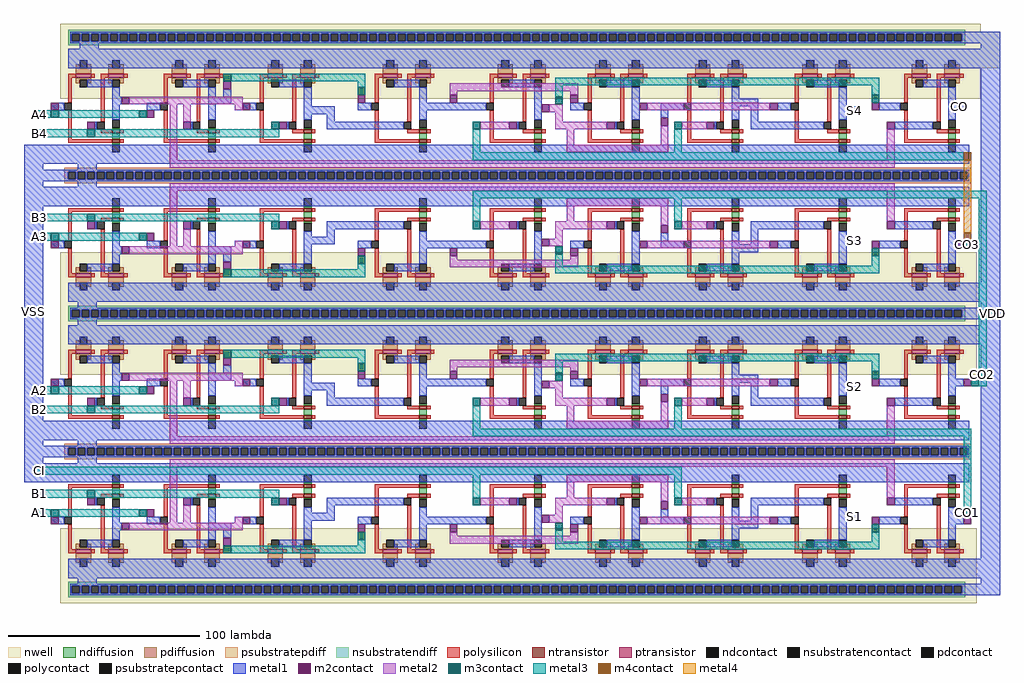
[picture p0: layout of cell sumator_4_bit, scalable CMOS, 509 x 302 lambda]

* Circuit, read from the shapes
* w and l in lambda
.subckt sumator_4_bit A1 A2 A3 A4 B1 B2 B3 B4 CI CO CO1 CO2 CO3 S1 S2 S3 S4 VDD VSS
M1 n1 B1 sumator_1_bit_3/n1 VSS nfet w=4 l=2
M2 VSS A1 n1 VSS nfet w=4 l=2
M3 n2 A2 VSS VSS nfet w=4 l=2
M4 sumator_1_bit_2/n1 B2 n2 VSS nfet w=4 l=2
M5 n3 B3 sumator_1_bit_1/n1 VSS nfet w=4 l=2
M6 VSS A3 n3 VSS nfet w=4 l=2
M7 n4 A4 VSS VSS nfet w=4 l=2
M8 sumator_1_bit_0/n1 B4 n4 VSS nfet w=4 l=2
M9 n5 sumator_1_bit_3/n1 sumator_1_bit_3/n2 VSS nfet w=4 l=2
M10 VSS A1 n5 VSS nfet w=4 l=2
M11 n6 A2 VSS VSS nfet w=4 l=2
M12 sumator_1_bit_2/n2 sumator_1_bit_2/n1 n6 VSS nfet w=4 l=2
M13 n7 sumator_1_bit_1/n1 sumator_1_bit_1/n2 VSS nfet w=4 l=2
M14 VSS A3 n7 VSS nfet w=4 l=2
M15 n8 A4 VSS VSS nfet w=4 l=2
M16 sumator_1_bit_0/n2 sumator_1_bit_0/n1 n8 VSS nfet w=4 l=2
M17 n9 B1 sumator_1_bit_3/n3 VSS nfet w=4 l=2
M18 VSS sumator_1_bit_3/n1 n9 VSS nfet w=4 l=2
M19 n10 sumator_1_bit_2/n1 VSS VSS nfet w=4 l=2
M20 sumator_1_bit_2/n3 B2 n10 VSS nfet w=4 l=2
M21 n11 B3 sumator_1_bit_1/n3 VSS nfet w=4 l=2
M22 VSS sumator_1_bit_1/n1 n11 VSS nfet w=4 l=2
M23 n12 sumator_1_bit_0/n1 VSS VSS nfet w=4 l=2
M24 sumator_1_bit_0/n3 B4 n12 VSS nfet w=4 l=2
M25 n13 sumator_1_bit_3/n3 sumator_1_bit_3/n4 VSS nfet w=4 l=2
M26 VSS sumator_1_bit_3/n2 n13 VSS nfet w=4 l=2
M27 n14 sumator_1_bit_2/n2 VSS VSS nfet w=4 l=2
M28 sumator_1_bit_2/n4 sumator_1_bit_2/n3 n14 VSS nfet w=4 l=2
M29 n15 sumator_1_bit_1/n3 sumator_1_bit_1/n4 VSS nfet w=4 l=2
M30 VSS sumator_1_bit_1/n2 n15 VSS nfet w=4 l=2
M31 n16 sumator_1_bit_0/n2 VSS VSS nfet w=4 l=2
M32 sumator_1_bit_0/n4 sumator_1_bit_0/n3 n16 VSS nfet w=4 l=2
M33 n17 CI sumator_1_bit_3/n5 VSS nfet w=4 l=2
M34 VSS sumator_1_bit_3/n4 n17 VSS nfet w=4 l=2
M35 n18 sumator_1_bit_2/n4 VSS VSS nfet w=4 l=2
M36 sumator_1_bit_2/n5 CO1 n18 VSS nfet w=4 l=2
M37 n19 CO2 sumator_1_bit_1/n5 VSS nfet w=4 l=2
M38 VSS sumator_1_bit_1/n4 n19 VSS nfet w=4 l=2
M39 n20 sumator_1_bit_0/n4 VSS VSS nfet w=4 l=2
M40 sumator_1_bit_0/n5 CO3 n20 VSS nfet w=4 l=2
M41 n21 sumator_1_bit_3/n5 sumator_1_bit_3/n6 VSS nfet w=4 l=2
M42 VSS sumator_1_bit_3/n4 n21 VSS nfet w=4 l=2
M43 n22 sumator_1_bit_2/n4 VSS VSS nfet w=4 l=2
M44 sumator_1_bit_2/n6 sumator_1_bit_2/n5 n22 VSS nfet w=4 l=2
M45 n23 sumator_1_bit_1/n5 sumator_1_bit_1/n6 VSS nfet w=4 l=2
M46 VSS sumator_1_bit_1/n4 n23 VSS nfet w=4 l=2
M47 n24 sumator_1_bit_0/n4 VSS VSS nfet w=4 l=2
M48 sumator_1_bit_0/n6 sumator_1_bit_0/n5 n24 VSS nfet w=4 l=2
M49 n25 CI sumator_1_bit_3/n7 VSS nfet w=4 l=2
M50 VSS sumator_1_bit_3/n5 n25 VSS nfet w=4 l=2
M51 n26 sumator_1_bit_2/n5 VSS VSS nfet w=4 l=2
M52 sumator_1_bit_2/n7 CO1 n26 VSS nfet w=4 l=2
M53 n27 CO2 sumator_1_bit_1/n7 VSS nfet w=4 l=2
M54 VSS sumator_1_bit_1/n5 n27 VSS nfet w=4 l=2
M55 n28 sumator_1_bit_0/n5 VSS VSS nfet w=4 l=2
M56 sumator_1_bit_0/n7 CO3 n28 VSS nfet w=4 l=2
M57 n29 sumator_1_bit_3/n7 S1 VSS nfet w=4 l=2
M58 VSS sumator_1_bit_3/n6 n29 VSS nfet w=4 l=2
M59 n30 sumator_1_bit_2/n6 VSS VSS nfet w=4 l=2
M60 S2 sumator_1_bit_2/n7 n30 VSS nfet w=4 l=2
M61 n31 sumator_1_bit_1/n7 S3 VSS nfet w=4 l=2
M62 VSS sumator_1_bit_1/n6 n31 VSS nfet w=4 l=2
M63 n32 sumator_1_bit_0/n6 VSS VSS nfet w=4 l=2
M64 S4 sumator_1_bit_0/n7 n32 VSS nfet w=4 l=2
M65 n33 sumator_1_bit_3/n1 CO1 VSS nfet w=4 l=2
M66 VSS sumator_1_bit_3/n5 n33 VSS nfet w=4 l=2
M67 n34 sumator_1_bit_2/n5 VSS VSS nfet w=4 l=2
M68 CO2 sumator_1_bit_2/n1 n34 VSS nfet w=4 l=2
M69 n35 sumator_1_bit_1/n1 CO3 VSS nfet w=4 l=2
M70 VSS sumator_1_bit_1/n5 n35 VSS nfet w=4 l=2
M71 n36 sumator_1_bit_0/n5 VSS VSS nfet w=4 l=2
M72 CO sumator_1_bit_0/n1 n36 VSS nfet w=4 l=2
M73 sumator_1_bit_3/n1 A1 VDD VDD pfet w=8 l=2
M74 VDD A2 sumator_1_bit_2/n1 VDD pfet w=8 l=2
M75 sumator_1_bit_1/n1 A3 VDD VDD pfet w=8 l=2
M76 VDD A4 sumator_1_bit_0/n1 VDD pfet w=8 l=2
M77 sumator_1_bit_3/n1 B1 VDD VDD pfet w=8 l=2
M78 VDD B2 sumator_1_bit_2/n1 VDD pfet w=8 l=2
M79 sumator_1_bit_1/n1 B3 VDD VDD pfet w=8 l=2
M80 VDD B4 sumator_1_bit_0/n1 VDD pfet w=8 l=2
M81 sumator_1_bit_3/n2 A1 VDD VDD pfet w=8 l=2
M82 VDD A2 sumator_1_bit_2/n2 VDD pfet w=8 l=2
M83 sumator_1_bit_1/n2 A3 VDD VDD pfet w=8 l=2
M84 VDD A4 sumator_1_bit_0/n2 VDD pfet w=8 l=2
M85 sumator_1_bit_3/n2 sumator_1_bit_3/n1 VDD VDD pfet w=8 l=2
M86 VDD sumator_1_bit_2/n1 sumator_1_bit_2/n2 VDD pfet w=8 l=2
M87 sumator_1_bit_1/n2 sumator_1_bit_1/n1 VDD VDD pfet w=8 l=2
M88 VDD sumator_1_bit_0/n1 sumator_1_bit_0/n2 VDD pfet w=8 l=2
M89 sumator_1_bit_3/n3 sumator_1_bit_3/n1 VDD VDD pfet w=8 l=2
M90 VDD sumator_1_bit_2/n1 sumator_1_bit_2/n3 VDD pfet w=8 l=2
M91 sumator_1_bit_1/n3 sumator_1_bit_1/n1 VDD VDD pfet w=8 l=2
M92 VDD sumator_1_bit_0/n1 sumator_1_bit_0/n3 VDD pfet w=8 l=2
M93 sumator_1_bit_3/n3 B1 VDD VDD pfet w=8 l=2
M94 VDD B2 sumator_1_bit_2/n3 VDD pfet w=8 l=2
M95 sumator_1_bit_1/n3 B3 VDD VDD pfet w=8 l=2
M96 VDD B4 sumator_1_bit_0/n3 VDD pfet w=8 l=2
M97 sumator_1_bit_3/n4 sumator_1_bit_3/n2 VDD VDD pfet w=8 l=2
M98 VDD sumator_1_bit_2/n2 sumator_1_bit_2/n4 VDD pfet w=8 l=2
M99 sumator_1_bit_1/n4 sumator_1_bit_1/n2 VDD VDD pfet w=8 l=2
M100 VDD sumator_1_bit_0/n2 sumator_1_bit_0/n4 VDD pfet w=8 l=2
M101 sumator_1_bit_3/n4 sumator_1_bit_3/n3 VDD VDD pfet w=8 l=2
M102 VDD sumator_1_bit_2/n3 sumator_1_bit_2/n4 VDD pfet w=8 l=2
M103 sumator_1_bit_1/n4 sumator_1_bit_1/n3 VDD VDD pfet w=8 l=2
M104 VDD sumator_1_bit_0/n3 sumator_1_bit_0/n4 VDD pfet w=8 l=2
M105 sumator_1_bit_3/n5 sumator_1_bit_3/n4 VDD VDD pfet w=8 l=2
M106 VDD sumator_1_bit_2/n4 sumator_1_bit_2/n5 VDD pfet w=8 l=2
M107 sumator_1_bit_1/n5 sumator_1_bit_1/n4 VDD VDD pfet w=8 l=2
M108 VDD sumator_1_bit_0/n4 sumator_1_bit_0/n5 VDD pfet w=8 l=2
M109 sumator_1_bit_3/n5 CI VDD VDD pfet w=8 l=2
M110 VDD CO1 sumator_1_bit_2/n5 VDD pfet w=8 l=2
M111 sumator_1_bit_1/n5 CO2 VDD VDD pfet w=8 l=2
M112 VDD CO3 sumator_1_bit_0/n5 VDD pfet w=8 l=2
M113 sumator_1_bit_3/n6 sumator_1_bit_3/n4 VDD VDD pfet w=8 l=2
M114 VDD sumator_1_bit_2/n4 sumator_1_bit_2/n6 VDD pfet w=8 l=2
M115 sumator_1_bit_1/n6 sumator_1_bit_1/n4 VDD VDD pfet w=8 l=2
M116 VDD sumator_1_bit_0/n4 sumator_1_bit_0/n6 VDD pfet w=8 l=2
M117 sumator_1_bit_3/n6 sumator_1_bit_3/n5 VDD VDD pfet w=8 l=2
M118 VDD sumator_1_bit_2/n5 sumator_1_bit_2/n6 VDD pfet w=8 l=2
M119 sumator_1_bit_1/n6 sumator_1_bit_1/n5 VDD VDD pfet w=8 l=2
M120 VDD sumator_1_bit_0/n5 sumator_1_bit_0/n6 VDD pfet w=8 l=2
M121 sumator_1_bit_3/n7 sumator_1_bit_3/n5 VDD VDD pfet w=8 l=2
M122 VDD sumator_1_bit_2/n5 sumator_1_bit_2/n7 VDD pfet w=8 l=2
M123 sumator_1_bit_1/n7 sumator_1_bit_1/n5 VDD VDD pfet w=8 l=2
M124 VDD sumator_1_bit_0/n5 sumator_1_bit_0/n7 VDD pfet w=8 l=2
M125 sumator_1_bit_3/n7 CI VDD VDD pfet w=8 l=2
M126 VDD CO1 sumator_1_bit_2/n7 VDD pfet w=8 l=2
M127 sumator_1_bit_1/n7 CO2 VDD VDD pfet w=8 l=2
M128 VDD CO3 sumator_1_bit_0/n7 VDD pfet w=8 l=2
M129 S1 sumator_1_bit_3/n6 VDD VDD pfet w=8 l=2
M130 VDD sumator_1_bit_2/n6 S2 VDD pfet w=8 l=2
M131 S3 sumator_1_bit_1/n6 VDD VDD pfet w=8 l=2
M132 VDD sumator_1_bit_0/n6 S4 VDD pfet w=8 l=2
M133 S1 sumator_1_bit_3/n7 VDD VDD pfet w=8 l=2
M134 VDD sumator_1_bit_2/n7 S2 VDD pfet w=8 l=2
M135 S3 sumator_1_bit_1/n7 VDD VDD pfet w=8 l=2
M136 VDD sumator_1_bit_0/n7 S4 VDD pfet w=8 l=2
M137 CO1 sumator_1_bit_3/n5 VDD VDD pfet w=8 l=2
M138 VDD sumator_1_bit_2/n5 CO2 VDD pfet w=8 l=2
M139 CO3 sumator_1_bit_1/n5 VDD VDD pfet w=8 l=2
M140 VDD sumator_1_bit_0/n5 CO VDD pfet w=8 l=2
M141 CO1 sumator_1_bit_3/n1 VDD VDD pfet w=8 l=2
M142 VDD sumator_1_bit_2/n1 CO2 VDD pfet w=8 l=2
M143 CO3 sumator_1_bit_1/n1 VDD VDD pfet w=8 l=2
M144 VDD sumator_1_bit_0/n1 CO VDD pfet w=8 l=2
.ends

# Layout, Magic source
magic
tech scmos
<< nwell >>
rect 54 91 534 95
rect 54 86 544 91
rect 58 85 544 86
rect 58 84 526 85
rect 64 82 74 84
rect 532 82 544 85
rect 530 72 544 82
rect 532 56 534 72
rect 63 -52 73 -50
rect 54 -60 532 -52
rect 63 -62 73 -60
rect 58 -198 526 -196
rect 54 -207 532 -198
<< psubstratepdiff >>
rect 56 18 529 20
rect 56 14 58 18
rect 62 14 63 18
rect 67 14 68 18
rect 72 14 73 18
rect 77 14 78 18
rect 82 14 83 18
rect 87 14 88 18
rect 92 14 93 18
rect 97 14 98 18
rect 102 14 103 18
rect 107 14 108 18
rect 112 14 113 18
rect 117 14 118 18
rect 122 14 123 18
rect 127 14 128 18
rect 132 14 133 18
rect 137 14 138 18
rect 142 14 143 18
rect 147 14 148 18
rect 152 14 153 18
rect 157 14 158 18
rect 162 14 163 18
rect 167 14 168 18
rect 172 14 173 18
rect 177 14 178 18
rect 182 14 183 18
rect 187 14 188 18
rect 192 14 193 18
rect 197 14 198 18
rect 202 14 203 18
rect 207 14 208 18
rect 212 14 213 18
rect 217 14 218 18
rect 222 14 223 18
rect 227 14 228 18
rect 232 14 233 18
rect 237 14 238 18
rect 242 14 243 18
rect 247 14 248 18
rect 252 14 253 18
rect 257 14 258 18
rect 262 14 263 18
rect 267 14 268 18
rect 272 14 273 18
rect 277 14 278 18
rect 282 14 283 18
rect 287 14 288 18
rect 292 14 293 18
rect 297 14 298 18
rect 302 14 303 18
rect 307 14 308 18
rect 312 14 313 18
rect 317 14 318 18
rect 322 14 323 18
rect 327 14 328 18
rect 332 14 333 18
rect 337 14 338 18
rect 342 14 343 18
rect 347 14 348 18
rect 352 14 353 18
rect 357 14 358 18
rect 362 14 363 18
rect 367 14 368 18
rect 372 14 373 18
rect 377 14 378 18
rect 382 14 383 18
rect 387 14 388 18
rect 392 14 393 18
rect 397 14 398 18
rect 402 14 403 18
rect 407 14 408 18
rect 412 14 413 18
rect 417 14 418 18
rect 422 14 423 18
rect 427 14 428 18
rect 432 14 433 18
rect 437 14 438 18
rect 442 14 443 18
rect 447 14 448 18
rect 452 14 453 18
rect 457 14 458 18
rect 462 14 463 18
rect 467 14 468 18
rect 472 14 473 18
rect 477 14 478 18
rect 482 14 483 18
rect 487 14 488 18
rect 492 14 493 18
rect 497 14 498 18
rect 502 14 503 18
rect 507 14 508 18
rect 512 14 513 18
rect 517 14 518 18
rect 522 14 523 18
rect 527 14 529 18
rect 56 12 529 14
rect 56 -126 529 -124
rect 56 -130 58 -126
rect 62 -130 63 -126
rect 67 -130 68 -126
rect 72 -130 73 -126
rect 77 -130 78 -126
rect 82 -130 83 -126
rect 87 -130 88 -126
rect 92 -130 93 -126
rect 97 -130 98 -126
rect 102 -130 103 -126
rect 107 -130 108 -126
rect 112 -130 113 -126
rect 117 -130 118 -126
rect 122 -130 123 -126
rect 127 -130 128 -126
rect 132 -130 133 -126
rect 137 -130 138 -126
rect 142 -130 143 -126
rect 147 -130 148 -126
rect 152 -130 153 -126
rect 157 -130 158 -126
rect 162 -130 163 -126
rect 167 -130 168 -126
rect 172 -130 173 -126
rect 177 -130 178 -126
rect 182 -130 183 -126
rect 187 -130 188 -126
rect 192 -130 193 -126
rect 197 -130 198 -126
rect 202 -130 203 -126
rect 207 -130 208 -126
rect 212 -130 213 -126
rect 217 -130 218 -126
rect 222 -130 223 -126
rect 227 -130 228 -126
rect 232 -130 233 -126
rect 237 -130 238 -126
rect 242 -130 243 -126
rect 247 -130 248 -126
rect 252 -130 253 -126
rect 257 -130 258 -126
rect 262 -130 263 -126
rect 267 -130 268 -126
rect 272 -130 273 -126
rect 277 -130 278 -126
rect 282 -130 283 -126
rect 287 -130 288 -126
rect 292 -130 293 -126
rect 297 -130 298 -126
rect 302 -130 303 -126
rect 307 -130 308 -126
rect 312 -130 313 -126
rect 317 -130 318 -126
rect 322 -130 323 -126
rect 327 -130 328 -126
rect 332 -130 333 -126
rect 337 -130 338 -126
rect 342 -130 343 -126
rect 347 -130 348 -126
rect 352 -130 353 -126
rect 357 -130 358 -126
rect 362 -130 363 -126
rect 367 -130 368 -126
rect 372 -130 373 -126
rect 377 -130 378 -126
rect 382 -130 383 -126
rect 387 -130 388 -126
rect 392 -130 393 -126
rect 397 -130 398 -126
rect 402 -130 403 -126
rect 407 -130 408 -126
rect 412 -130 413 -126
rect 417 -130 418 -126
rect 422 -130 423 -126
rect 427 -130 428 -126
rect 432 -130 433 -126
rect 437 -130 438 -126
rect 442 -130 443 -126
rect 447 -130 448 -126
rect 452 -130 453 -126
rect 457 -130 458 -126
rect 462 -130 463 -126
rect 467 -130 468 -126
rect 472 -130 473 -126
rect 477 -130 478 -126
rect 482 -130 483 -126
rect 487 -130 488 -126
rect 492 -130 493 -126
rect 497 -130 498 -126
rect 502 -130 503 -126
rect 507 -130 508 -126
rect 512 -130 513 -126
rect 517 -130 518 -126
rect 522 -130 523 -126
rect 527 -130 529 -126
rect 56 -132 529 -130
<< nsubstratendiff >>
rect 58 90 526 92
rect 58 86 60 90
rect 64 86 65 90
rect 69 86 70 90
rect 74 86 75 90
rect 79 86 80 90
rect 84 86 85 90
rect 89 86 90 90
rect 94 86 95 90
rect 99 86 100 90
rect 104 86 105 90
rect 109 86 110 90
rect 114 86 115 90
rect 119 86 120 90
rect 124 86 125 90
rect 129 86 130 90
rect 134 86 135 90
rect 139 86 140 90
rect 144 86 145 90
rect 149 86 150 90
rect 154 86 155 90
rect 159 86 160 90
rect 164 86 165 90
rect 169 86 170 90
rect 174 86 175 90
rect 179 86 180 90
rect 184 86 185 90
rect 189 86 190 90
rect 194 86 195 90
rect 199 86 200 90
rect 204 86 205 90
rect 209 86 210 90
rect 214 86 215 90
rect 219 86 220 90
rect 224 86 225 90
rect 229 86 230 90
rect 234 86 235 90
rect 239 86 240 90
rect 244 86 245 90
rect 249 86 250 90
rect 254 86 255 90
rect 259 86 260 90
rect 264 86 265 90
rect 269 86 270 90
rect 274 86 275 90
rect 279 86 280 90
rect 284 86 285 90
rect 289 86 290 90
rect 294 86 295 90
rect 299 86 300 90
rect 304 86 305 90
rect 309 86 310 90
rect 314 86 315 90
rect 319 86 320 90
rect 324 86 325 90
rect 329 86 330 90
rect 334 86 335 90
rect 339 86 340 90
rect 344 86 345 90
rect 349 86 350 90
rect 354 86 355 90
rect 359 86 360 90
rect 364 86 365 90
rect 369 86 370 90
rect 374 86 375 90
rect 379 86 380 90
rect 384 86 385 90
rect 389 86 390 90
rect 394 86 395 90
rect 399 86 400 90
rect 404 86 405 90
rect 409 86 410 90
rect 414 86 415 90
rect 419 86 420 90
rect 424 86 425 90
rect 429 86 430 90
rect 434 86 435 90
rect 439 86 440 90
rect 444 86 445 90
rect 449 86 450 90
rect 454 86 455 90
rect 459 86 460 90
rect 464 86 465 90
rect 469 86 470 90
rect 474 86 475 90
rect 479 86 480 90
rect 484 86 485 90
rect 489 86 490 90
rect 494 86 495 90
rect 499 86 500 90
rect 504 86 505 90
rect 509 86 510 90
rect 514 86 515 90
rect 519 86 520 90
rect 524 86 526 90
rect 58 84 526 86
rect 58 -54 526 -52
rect 58 -58 60 -54
rect 64 -58 65 -54
rect 69 -58 70 -54
rect 74 -58 75 -54
rect 79 -58 80 -54
rect 84 -58 85 -54
rect 89 -58 90 -54
rect 94 -58 95 -54
rect 99 -58 100 -54
rect 104 -58 105 -54
rect 109 -58 110 -54
rect 114 -58 115 -54
rect 119 -58 120 -54
rect 124 -58 125 -54
rect 129 -58 130 -54
rect 134 -58 135 -54
rect 139 -58 140 -54
rect 144 -58 145 -54
rect 149 -58 150 -54
rect 154 -58 155 -54
rect 159 -58 160 -54
rect 164 -58 165 -54
rect 169 -58 170 -54
rect 174 -58 175 -54
rect 179 -58 180 -54
rect 184 -58 185 -54
rect 189 -58 190 -54
rect 194 -58 195 -54
rect 199 -58 200 -54
rect 204 -58 205 -54
rect 209 -58 210 -54
rect 214 -58 215 -54
rect 219 -58 220 -54
rect 224 -58 225 -54
rect 229 -58 230 -54
rect 234 -58 235 -54
rect 239 -58 240 -54
rect 244 -58 245 -54
rect 249 -58 250 -54
rect 254 -58 255 -54
rect 259 -58 260 -54
rect 264 -58 265 -54
rect 269 -58 270 -54
rect 274 -58 275 -54
rect 279 -58 280 -54
rect 284 -58 285 -54
rect 289 -58 290 -54
rect 294 -58 295 -54
rect 299 -58 300 -54
rect 304 -58 305 -54
rect 309 -58 310 -54
rect 314 -58 315 -54
rect 319 -58 320 -54
rect 324 -58 325 -54
rect 329 -58 330 -54
rect 334 -58 335 -54
rect 339 -58 340 -54
rect 344 -58 345 -54
rect 349 -58 350 -54
rect 354 -58 355 -54
rect 359 -58 360 -54
rect 364 -58 365 -54
rect 369 -58 370 -54
rect 374 -58 375 -54
rect 379 -58 380 -54
rect 384 -58 385 -54
rect 389 -58 390 -54
rect 394 -58 395 -54
rect 399 -58 400 -54
rect 404 -58 405 -54
rect 409 -58 410 -54
rect 414 -58 415 -54
rect 419 -58 420 -54
rect 424 -58 425 -54
rect 429 -58 430 -54
rect 434 -58 435 -54
rect 439 -58 440 -54
rect 444 -58 445 -54
rect 449 -58 450 -54
rect 454 -58 455 -54
rect 459 -58 460 -54
rect 464 -58 465 -54
rect 469 -58 470 -54
rect 474 -58 475 -54
rect 479 -58 480 -54
rect 484 -58 485 -54
rect 489 -58 490 -54
rect 494 -58 495 -54
rect 499 -58 500 -54
rect 504 -58 505 -54
rect 509 -58 510 -54
rect 514 -58 515 -54
rect 519 -58 520 -54
rect 524 -58 526 -54
rect 58 -60 526 -58
rect 58 -198 526 -196
rect 58 -202 60 -198
rect 64 -202 65 -198
rect 69 -202 70 -198
rect 74 -202 75 -198
rect 79 -202 80 -198
rect 84 -202 85 -198
rect 89 -202 90 -198
rect 94 -202 95 -198
rect 99 -202 100 -198
rect 104 -202 105 -198
rect 109 -202 110 -198
rect 114 -202 115 -198
rect 119 -202 120 -198
rect 124 -202 125 -198
rect 129 -202 130 -198
rect 134 -202 135 -198
rect 139 -202 140 -198
rect 144 -202 145 -198
rect 149 -202 150 -198
rect 154 -202 155 -198
rect 159 -202 160 -198
rect 164 -202 165 -198
rect 169 -202 170 -198
rect 174 -202 175 -198
rect 179 -202 180 -198
rect 184 -202 185 -198
rect 189 -202 190 -198
rect 194 -202 195 -198
rect 199 -202 200 -198
rect 204 -202 205 -198
rect 209 -202 210 -198
rect 214 -202 215 -198
rect 219 -202 220 -198
rect 224 -202 225 -198
rect 229 -202 230 -198
rect 234 -202 235 -198
rect 239 -202 240 -198
rect 244 -202 245 -198
rect 249 -202 250 -198
rect 254 -202 255 -198
rect 259 -202 260 -198
rect 264 -202 265 -198
rect 269 -202 270 -198
rect 274 -202 275 -198
rect 279 -202 280 -198
rect 284 -202 285 -198
rect 289 -202 290 -198
rect 294 -202 295 -198
rect 299 -202 300 -198
rect 304 -202 305 -198
rect 309 -202 310 -198
rect 314 -202 315 -198
rect 319 -202 320 -198
rect 324 -202 325 -198
rect 329 -202 330 -198
rect 334 -202 335 -198
rect 339 -202 340 -198
rect 344 -202 345 -198
rect 349 -202 350 -198
rect 354 -202 355 -198
rect 359 -202 360 -198
rect 364 -202 365 -198
rect 369 -202 370 -198
rect 374 -202 375 -198
rect 379 -202 380 -198
rect 384 -202 385 -198
rect 389 -202 390 -198
rect 394 -202 395 -198
rect 399 -202 400 -198
rect 404 -202 405 -198
rect 409 -202 410 -198
rect 414 -202 415 -198
rect 419 -202 420 -198
rect 424 -202 425 -198
rect 429 -202 430 -198
rect 434 -202 435 -198
rect 439 -202 440 -198
rect 444 -202 445 -198
rect 449 -202 450 -198
rect 454 -202 455 -198
rect 459 -202 460 -198
rect 464 -202 465 -198
rect 469 -202 470 -198
rect 474 -202 475 -198
rect 479 -202 480 -198
rect 484 -202 485 -198
rect 489 -202 490 -198
rect 494 -202 495 -198
rect 499 -202 500 -198
rect 504 -202 505 -198
rect 509 -202 510 -198
rect 514 -202 515 -198
rect 519 -202 520 -198
rect 524 -202 526 -198
rect 58 -204 526 -202
<< psubstratepcontact >>
rect 58 14 62 18
rect 63 14 67 18
rect 68 14 72 18
rect 73 14 77 18
rect 78 14 82 18
rect 83 14 87 18
rect 88 14 92 18
rect 93 14 97 18
rect 98 14 102 18
rect 103 14 107 18
rect 108 14 112 18
rect 113 14 117 18
rect 118 14 122 18
rect 123 14 127 18
rect 128 14 132 18
rect 133 14 137 18
rect 138 14 142 18
rect 143 14 147 18
rect 148 14 152 18
rect 153 14 157 18
rect 158 14 162 18
rect 163 14 167 18
rect 168 14 172 18
rect 173 14 177 18
rect 178 14 182 18
rect 183 14 187 18
rect 188 14 192 18
rect 193 14 197 18
rect 198 14 202 18
rect 203 14 207 18
rect 208 14 212 18
rect 213 14 217 18
rect 218 14 222 18
rect 223 14 227 18
rect 228 14 232 18
rect 233 14 237 18
rect 238 14 242 18
rect 243 14 247 18
rect 248 14 252 18
rect 253 14 257 18
rect 258 14 262 18
rect 263 14 267 18
rect 268 14 272 18
rect 273 14 277 18
rect 278 14 282 18
rect 283 14 287 18
rect 288 14 292 18
rect 293 14 297 18
rect 298 14 302 18
rect 303 14 307 18
rect 308 14 312 18
rect 313 14 317 18
rect 318 14 322 18
rect 323 14 327 18
rect 328 14 332 18
rect 333 14 337 18
rect 338 14 342 18
rect 343 14 347 18
rect 348 14 352 18
rect 353 14 357 18
rect 358 14 362 18
rect 363 14 367 18
rect 368 14 372 18
rect 373 14 377 18
rect 378 14 382 18
rect 383 14 387 18
rect 388 14 392 18
rect 393 14 397 18
rect 398 14 402 18
rect 403 14 407 18
rect 408 14 412 18
rect 413 14 417 18
rect 418 14 422 18
rect 423 14 427 18
rect 428 14 432 18
rect 433 14 437 18
rect 438 14 442 18
rect 443 14 447 18
rect 448 14 452 18
rect 453 14 457 18
rect 458 14 462 18
rect 463 14 467 18
rect 468 14 472 18
rect 473 14 477 18
rect 478 14 482 18
rect 483 14 487 18
rect 488 14 492 18
rect 493 14 497 18
rect 498 14 502 18
rect 503 14 507 18
rect 508 14 512 18
rect 513 14 517 18
rect 518 14 522 18
rect 523 14 527 18
rect 58 -130 62 -126
rect 63 -130 67 -126
rect 68 -130 72 -126
rect 73 -130 77 -126
rect 78 -130 82 -126
rect 83 -130 87 -126
rect 88 -130 92 -126
rect 93 -130 97 -126
rect 98 -130 102 -126
rect 103 -130 107 -126
rect 108 -130 112 -126
rect 113 -130 117 -126
rect 118 -130 122 -126
rect 123 -130 127 -126
rect 128 -130 132 -126
rect 133 -130 137 -126
rect 138 -130 142 -126
rect 143 -130 147 -126
rect 148 -130 152 -126
rect 153 -130 157 -126
rect 158 -130 162 -126
rect 163 -130 167 -126
rect 168 -130 172 -126
rect 173 -130 177 -126
rect 178 -130 182 -126
rect 183 -130 187 -126
rect 188 -130 192 -126
rect 193 -130 197 -126
rect 198 -130 202 -126
rect 203 -130 207 -126
rect 208 -130 212 -126
rect 213 -130 217 -126
rect 218 -130 222 -126
rect 223 -130 227 -126
rect 228 -130 232 -126
rect 233 -130 237 -126
rect 238 -130 242 -126
rect 243 -130 247 -126
rect 248 -130 252 -126
rect 253 -130 257 -126
rect 258 -130 262 -126
rect 263 -130 267 -126
rect 268 -130 272 -126
rect 273 -130 277 -126
rect 278 -130 282 -126
rect 283 -130 287 -126
rect 288 -130 292 -126
rect 293 -130 297 -126
rect 298 -130 302 -126
rect 303 -130 307 -126
rect 308 -130 312 -126
rect 313 -130 317 -126
rect 318 -130 322 -126
rect 323 -130 327 -126
rect 328 -130 332 -126
rect 333 -130 337 -126
rect 338 -130 342 -126
rect 343 -130 347 -126
rect 348 -130 352 -126
rect 353 -130 357 -126
rect 358 -130 362 -126
rect 363 -130 367 -126
rect 368 -130 372 -126
rect 373 -130 377 -126
rect 378 -130 382 -126
rect 383 -130 387 -126
rect 388 -130 392 -126
rect 393 -130 397 -126
rect 398 -130 402 -126
rect 403 -130 407 -126
rect 408 -130 412 -126
rect 413 -130 417 -126
rect 418 -130 422 -126
rect 423 -130 427 -126
rect 428 -130 432 -126
rect 433 -130 437 -126
rect 438 -130 442 -126
rect 443 -130 447 -126
rect 448 -130 452 -126
rect 453 -130 457 -126
rect 458 -130 462 -126
rect 463 -130 467 -126
rect 468 -130 472 -126
rect 473 -130 477 -126
rect 478 -130 482 -126
rect 483 -130 487 -126
rect 488 -130 492 -126
rect 493 -130 497 -126
rect 498 -130 502 -126
rect 503 -130 507 -126
rect 508 -130 512 -126
rect 513 -130 517 -126
rect 518 -130 522 -126
rect 523 -130 527 -126
<< nsubstratencontact >>
rect 60 86 64 90
rect 65 86 69 90
rect 70 86 74 90
rect 75 86 79 90
rect 80 86 84 90
rect 85 86 89 90
rect 90 86 94 90
rect 95 86 99 90
rect 100 86 104 90
rect 105 86 109 90
rect 110 86 114 90
rect 115 86 119 90
rect 120 86 124 90
rect 125 86 129 90
rect 130 86 134 90
rect 135 86 139 90
rect 140 86 144 90
rect 145 86 149 90
rect 150 86 154 90
rect 155 86 159 90
rect 160 86 164 90
rect 165 86 169 90
rect 170 86 174 90
rect 175 86 179 90
rect 180 86 184 90
rect 185 86 189 90
rect 190 86 194 90
rect 195 86 199 90
rect 200 86 204 90
rect 205 86 209 90
rect 210 86 214 90
rect 215 86 219 90
rect 220 86 224 90
rect 225 86 229 90
rect 230 86 234 90
rect 235 86 239 90
rect 240 86 244 90
rect 245 86 249 90
rect 250 86 254 90
rect 255 86 259 90
rect 260 86 264 90
rect 265 86 269 90
rect 270 86 274 90
rect 275 86 279 90
rect 280 86 284 90
rect 285 86 289 90
rect 290 86 294 90
rect 295 86 299 90
rect 300 86 304 90
rect 305 86 309 90
rect 310 86 314 90
rect 315 86 319 90
rect 320 86 324 90
rect 325 86 329 90
rect 330 86 334 90
rect 335 86 339 90
rect 340 86 344 90
rect 345 86 349 90
rect 350 86 354 90
rect 355 86 359 90
rect 360 86 364 90
rect 365 86 369 90
rect 370 86 374 90
rect 375 86 379 90
rect 380 86 384 90
rect 385 86 389 90
rect 390 86 394 90
rect 395 86 399 90
rect 400 86 404 90
rect 405 86 409 90
rect 410 86 414 90
rect 415 86 419 90
rect 420 86 424 90
rect 425 86 429 90
rect 430 86 434 90
rect 435 86 439 90
rect 440 86 444 90
rect 445 86 449 90
rect 450 86 454 90
rect 455 86 459 90
rect 460 86 464 90
rect 465 86 469 90
rect 470 86 474 90
rect 475 86 479 90
rect 480 86 484 90
rect 485 86 489 90
rect 490 86 494 90
rect 495 86 499 90
rect 500 86 504 90
rect 505 86 509 90
rect 510 86 514 90
rect 515 86 519 90
rect 520 86 524 90
rect 60 -58 64 -54
rect 65 -58 69 -54
rect 70 -58 74 -54
rect 75 -58 79 -54
rect 80 -58 84 -54
rect 85 -58 89 -54
rect 90 -58 94 -54
rect 95 -58 99 -54
rect 100 -58 104 -54
rect 105 -58 109 -54
rect 110 -58 114 -54
rect 115 -58 119 -54
rect 120 -58 124 -54
rect 125 -58 129 -54
rect 130 -58 134 -54
rect 135 -58 139 -54
rect 140 -58 144 -54
rect 145 -58 149 -54
rect 150 -58 154 -54
rect 155 -58 159 -54
rect 160 -58 164 -54
rect 165 -58 169 -54
rect 170 -58 174 -54
rect 175 -58 179 -54
rect 180 -58 184 -54
rect 185 -58 189 -54
rect 190 -58 194 -54
rect 195 -58 199 -54
rect 200 -58 204 -54
rect 205 -58 209 -54
rect 210 -58 214 -54
rect 215 -58 219 -54
rect 220 -58 224 -54
rect 225 -58 229 -54
rect 230 -58 234 -54
rect 235 -58 239 -54
rect 240 -58 244 -54
rect 245 -58 249 -54
rect 250 -58 254 -54
rect 255 -58 259 -54
rect 260 -58 264 -54
rect 265 -58 269 -54
rect 270 -58 274 -54
rect 275 -58 279 -54
rect 280 -58 284 -54
rect 285 -58 289 -54
rect 290 -58 294 -54
rect 295 -58 299 -54
rect 300 -58 304 -54
rect 305 -58 309 -54
rect 310 -58 314 -54
rect 315 -58 319 -54
rect 320 -58 324 -54
rect 325 -58 329 -54
rect 330 -58 334 -54
rect 335 -58 339 -54
rect 340 -58 344 -54
rect 345 -58 349 -54
rect 350 -58 354 -54
rect 355 -58 359 -54
rect 360 -58 364 -54
rect 365 -58 369 -54
rect 370 -58 374 -54
rect 375 -58 379 -54
rect 380 -58 384 -54
rect 385 -58 389 -54
rect 390 -58 394 -54
rect 395 -58 399 -54
rect 400 -58 404 -54
rect 405 -58 409 -54
rect 410 -58 414 -54
rect 415 -58 419 -54
rect 420 -58 424 -54
rect 425 -58 429 -54
rect 430 -58 434 -54
rect 435 -58 439 -54
rect 440 -58 444 -54
rect 445 -58 449 -54
rect 450 -58 454 -54
rect 455 -58 459 -54
rect 460 -58 464 -54
rect 465 -58 469 -54
rect 470 -58 474 -54
rect 475 -58 479 -54
rect 480 -58 484 -54
rect 485 -58 489 -54
rect 490 -58 494 -54
rect 495 -58 499 -54
rect 500 -58 504 -54
rect 505 -58 509 -54
rect 510 -58 514 -54
rect 515 -58 519 -54
rect 520 -58 524 -54
rect 60 -202 64 -198
rect 65 -202 69 -198
rect 70 -202 74 -198
rect 75 -202 79 -198
rect 80 -202 84 -198
rect 85 -202 89 -198
rect 90 -202 94 -198
rect 95 -202 99 -198
rect 100 -202 104 -198
rect 105 -202 109 -198
rect 110 -202 114 -198
rect 115 -202 119 -198
rect 120 -202 124 -198
rect 125 -202 129 -198
rect 130 -202 134 -198
rect 135 -202 139 -198
rect 140 -202 144 -198
rect 145 -202 149 -198
rect 150 -202 154 -198
rect 155 -202 159 -198
rect 160 -202 164 -198
rect 165 -202 169 -198
rect 170 -202 174 -198
rect 175 -202 179 -198
rect 180 -202 184 -198
rect 185 -202 189 -198
rect 190 -202 194 -198
rect 195 -202 199 -198
rect 200 -202 204 -198
rect 205 -202 209 -198
rect 210 -202 214 -198
rect 215 -202 219 -198
rect 220 -202 224 -198
rect 225 -202 229 -198
rect 230 -202 234 -198
rect 235 -202 239 -198
rect 240 -202 244 -198
rect 245 -202 249 -198
rect 250 -202 254 -198
rect 255 -202 259 -198
rect 260 -202 264 -198
rect 265 -202 269 -198
rect 270 -202 274 -198
rect 275 -202 279 -198
rect 280 -202 284 -198
rect 285 -202 289 -198
rect 290 -202 294 -198
rect 295 -202 299 -198
rect 300 -202 304 -198
rect 305 -202 309 -198
rect 310 -202 314 -198
rect 315 -202 319 -198
rect 320 -202 324 -198
rect 325 -202 329 -198
rect 330 -202 334 -198
rect 335 -202 339 -198
rect 340 -202 344 -198
rect 345 -202 349 -198
rect 350 -202 354 -198
rect 355 -202 359 -198
rect 360 -202 364 -198
rect 365 -202 369 -198
rect 370 -202 374 -198
rect 375 -202 379 -198
rect 380 -202 384 -198
rect 385 -202 389 -198
rect 390 -202 394 -198
rect 395 -202 399 -198
rect 400 -202 404 -198
rect 405 -202 409 -198
rect 410 -202 414 -198
rect 415 -202 419 -198
rect 420 -202 424 -198
rect 425 -202 429 -198
rect 430 -202 434 -198
rect 435 -202 439 -198
rect 440 -202 444 -198
rect 445 -202 449 -198
rect 450 -202 454 -198
rect 455 -202 459 -198
rect 460 -202 464 -198
rect 465 -202 469 -198
rect 470 -202 474 -198
rect 475 -202 479 -198
rect 480 -202 484 -198
rect 485 -202 489 -198
rect 490 -202 494 -198
rect 495 -202 499 -198
rect 500 -202 504 -198
rect 505 -202 509 -198
rect 510 -202 514 -198
rect 515 -202 519 -198
rect 520 -202 524 -198
<< metal1 >>
rect 59 90 544 91
rect 59 86 60 90
rect 64 86 65 90
rect 69 86 70 90
rect 74 86 75 90
rect 79 86 80 90
rect 84 86 85 90
rect 89 86 90 90
rect 94 86 95 90
rect 99 86 100 90
rect 104 86 105 90
rect 109 86 110 90
rect 114 86 115 90
rect 119 86 120 90
rect 124 86 125 90
rect 129 86 130 90
rect 134 86 135 90
rect 139 86 140 90
rect 144 86 145 90
rect 149 86 150 90
rect 154 86 155 90
rect 159 86 160 90
rect 164 86 165 90
rect 169 86 170 90
rect 174 86 175 90
rect 179 86 180 90
rect 184 86 185 90
rect 189 86 190 90
rect 194 86 195 90
rect 199 86 200 90
rect 204 86 205 90
rect 209 86 210 90
rect 214 86 215 90
rect 219 86 220 90
rect 224 86 225 90
rect 229 86 230 90
rect 234 86 235 90
rect 239 86 240 90
rect 244 86 245 90
rect 249 86 250 90
rect 254 86 255 90
rect 259 86 260 90
rect 264 86 265 90
rect 269 86 270 90
rect 274 86 275 90
rect 279 86 280 90
rect 284 86 285 90
rect 289 86 290 90
rect 294 86 295 90
rect 299 86 300 90
rect 304 86 305 90
rect 309 86 310 90
rect 314 86 315 90
rect 319 86 320 90
rect 324 86 325 90
rect 329 86 330 90
rect 334 86 335 90
rect 339 86 340 90
rect 344 86 345 90
rect 349 86 350 90
rect 354 86 355 90
rect 359 86 360 90
rect 364 86 365 90
rect 369 86 370 90
rect 374 86 375 90
rect 379 86 380 90
rect 384 86 385 90
rect 389 86 390 90
rect 394 86 395 90
rect 399 86 400 90
rect 404 86 405 90
rect 409 86 410 90
rect 414 86 415 90
rect 419 86 420 90
rect 424 86 425 90
rect 429 86 430 90
rect 434 86 435 90
rect 439 86 440 90
rect 444 86 445 90
rect 449 86 450 90
rect 454 86 455 90
rect 459 86 460 90
rect 464 86 465 90
rect 469 86 470 90
rect 474 86 475 90
rect 479 86 480 90
rect 484 86 485 90
rect 489 86 490 90
rect 494 86 495 90
rect 499 86 500 90
rect 504 86 505 90
rect 509 86 510 90
rect 514 86 515 90
rect 519 86 520 90
rect 524 86 544 90
rect 59 85 544 86
rect 64 75 74 85
rect 534 82 544 85
rect 524 72 544 82
rect 466 48 470 52
rect 521 50 525 54
rect 35 22 56 32
rect 35 19 45 22
rect 63 19 73 29
rect 35 18 528 19
rect 35 14 58 18
rect 62 14 63 18
rect 67 14 68 18
rect 72 14 73 18
rect 77 14 78 18
rect 82 14 83 18
rect 87 14 88 18
rect 92 14 93 18
rect 97 14 98 18
rect 102 14 103 18
rect 107 14 108 18
rect 112 14 113 18
rect 117 14 118 18
rect 122 14 123 18
rect 127 14 128 18
rect 132 14 133 18
rect 137 14 138 18
rect 142 14 143 18
rect 147 14 148 18
rect 152 14 153 18
rect 157 14 158 18
rect 162 14 163 18
rect 167 14 168 18
rect 172 14 173 18
rect 177 14 178 18
rect 182 14 183 18
rect 187 14 188 18
rect 192 14 193 18
rect 197 14 198 18
rect 202 14 203 18
rect 207 14 208 18
rect 212 14 213 18
rect 217 14 218 18
rect 222 14 223 18
rect 227 14 228 18
rect 232 14 233 18
rect 237 14 238 18
rect 242 14 243 18
rect 247 14 248 18
rect 252 14 253 18
rect 257 14 258 18
rect 262 14 263 18
rect 267 14 268 18
rect 272 14 273 18
rect 277 14 278 18
rect 282 14 283 18
rect 287 14 288 18
rect 292 14 293 18
rect 297 14 298 18
rect 302 14 303 18
rect 307 14 308 18
rect 312 14 313 18
rect 317 14 318 18
rect 322 14 323 18
rect 327 14 328 18
rect 332 14 333 18
rect 337 14 338 18
rect 342 14 343 18
rect 347 14 348 18
rect 352 14 353 18
rect 357 14 358 18
rect 362 14 363 18
rect 367 14 368 18
rect 372 14 373 18
rect 377 14 378 18
rect 382 14 383 18
rect 387 14 388 18
rect 392 14 393 18
rect 397 14 398 18
rect 402 14 403 18
rect 407 14 408 18
rect 412 14 413 18
rect 417 14 418 18
rect 422 14 423 18
rect 427 14 428 18
rect 432 14 433 18
rect 437 14 438 18
rect 442 14 443 18
rect 447 14 448 18
rect 452 14 453 18
rect 457 14 458 18
rect 462 14 463 18
rect 467 14 468 18
rect 472 14 473 18
rect 477 14 478 18
rect 482 14 483 18
rect 487 14 488 18
rect 492 14 493 18
rect 497 14 498 18
rect 502 14 503 18
rect 507 14 508 18
rect 512 14 513 18
rect 517 14 518 18
rect 522 14 523 18
rect 527 14 528 18
rect 35 13 528 14
rect 35 10 45 13
rect 35 0 56 10
rect 63 3 73 13
rect 35 -112 45 0
rect 466 -20 470 -16
rect 534 -40 544 72
rect 63 -53 73 -43
rect 520 -50 544 -40
rect 534 -53 544 -50
rect 59 -54 544 -53
rect 59 -58 60 -54
rect 64 -58 65 -54
rect 69 -58 70 -54
rect 74 -58 75 -54
rect 79 -58 80 -54
rect 84 -58 85 -54
rect 89 -58 90 -54
rect 94 -58 95 -54
rect 99 -58 100 -54
rect 104 -58 105 -54
rect 109 -58 110 -54
rect 114 -58 115 -54
rect 119 -58 120 -54
rect 124 -58 125 -54
rect 129 -58 130 -54
rect 134 -58 135 -54
rect 139 -58 140 -54
rect 144 -58 145 -54
rect 149 -58 150 -54
rect 154 -58 155 -54
rect 159 -58 160 -54
rect 164 -58 165 -54
rect 169 -58 170 -54
rect 174 -58 175 -54
rect 179 -58 180 -54
rect 184 -58 185 -54
rect 189 -58 190 -54
rect 194 -58 195 -54
rect 199 -58 200 -54
rect 204 -58 205 -54
rect 209 -58 210 -54
rect 214 -58 215 -54
rect 219 -58 220 -54
rect 224 -58 225 -54
rect 229 -58 230 -54
rect 234 -58 235 -54
rect 239 -58 240 -54
rect 244 -58 245 -54
rect 249 -58 250 -54
rect 254 -58 255 -54
rect 259 -58 260 -54
rect 264 -58 265 -54
rect 269 -58 270 -54
rect 274 -58 275 -54
rect 279 -58 280 -54
rect 284 -58 285 -54
rect 289 -58 290 -54
rect 294 -58 295 -54
rect 299 -58 300 -54
rect 304 -58 305 -54
rect 309 -58 310 -54
rect 314 -58 315 -54
rect 319 -58 320 -54
rect 324 -58 325 -54
rect 329 -58 330 -54
rect 334 -58 335 -54
rect 339 -58 340 -54
rect 344 -58 345 -54
rect 349 -58 350 -54
rect 354 -58 355 -54
rect 359 -58 360 -54
rect 364 -58 365 -54
rect 369 -58 370 -54
rect 374 -58 375 -54
rect 379 -58 380 -54
rect 384 -58 385 -54
rect 389 -58 390 -54
rect 394 -58 395 -54
rect 399 -58 400 -54
rect 404 -58 405 -54
rect 409 -58 410 -54
rect 414 -58 415 -54
rect 419 -58 420 -54
rect 424 -58 425 -54
rect 429 -58 430 -54
rect 434 -58 435 -54
rect 439 -58 440 -54
rect 444 -58 445 -54
rect 449 -58 450 -54
rect 454 -58 455 -54
rect 459 -58 460 -54
rect 464 -58 465 -54
rect 469 -58 470 -54
rect 474 -58 475 -54
rect 479 -58 480 -54
rect 484 -58 485 -54
rect 489 -58 490 -54
rect 494 -58 495 -54
rect 499 -58 500 -54
rect 504 -58 505 -54
rect 509 -58 510 -54
rect 514 -58 515 -54
rect 519 -58 520 -54
rect 524 -58 544 -54
rect 59 -59 544 -58
rect 63 -69 73 -59
rect 534 -62 544 -59
rect 520 -72 544 -62
rect 466 -96 470 -92
rect 521 -94 525 -90
rect 35 -122 56 -112
rect 35 -125 45 -122
rect 63 -125 73 -115
rect 35 -126 528 -125
rect 35 -130 58 -126
rect 62 -130 63 -126
rect 67 -130 68 -126
rect 72 -130 73 -126
rect 77 -130 78 -126
rect 82 -130 83 -126
rect 87 -130 88 -126
rect 92 -130 93 -126
rect 97 -130 98 -126
rect 102 -130 103 -126
rect 107 -130 108 -126
rect 112 -130 113 -126
rect 117 -130 118 -126
rect 122 -130 123 -126
rect 127 -130 128 -126
rect 132 -130 133 -126
rect 137 -130 138 -126
rect 142 -130 143 -126
rect 147 -130 148 -126
rect 152 -130 153 -126
rect 157 -130 158 -126
rect 162 -130 163 -126
rect 167 -130 168 -126
rect 172 -130 173 -126
rect 177 -130 178 -126
rect 182 -130 183 -126
rect 187 -130 188 -126
rect 192 -130 193 -126
rect 197 -130 198 -126
rect 202 -130 203 -126
rect 207 -130 208 -126
rect 212 -130 213 -126
rect 217 -130 218 -126
rect 222 -130 223 -126
rect 227 -130 228 -126
rect 232 -130 233 -126
rect 237 -130 238 -126
rect 242 -130 243 -126
rect 247 -130 248 -126
rect 252 -130 253 -126
rect 257 -130 258 -126
rect 262 -130 263 -126
rect 267 -130 268 -126
rect 272 -130 273 -126
rect 277 -130 278 -126
rect 282 -130 283 -126
rect 287 -130 288 -126
rect 292 -130 293 -126
rect 297 -130 298 -126
rect 302 -130 303 -126
rect 307 -130 308 -126
rect 312 -130 313 -126
rect 317 -130 318 -126
rect 322 -130 323 -126
rect 327 -130 328 -126
rect 332 -130 333 -126
rect 337 -130 338 -126
rect 342 -130 343 -126
rect 347 -130 348 -126
rect 352 -130 353 -126
rect 357 -130 358 -126
rect 362 -130 363 -126
rect 367 -130 368 -126
rect 372 -130 373 -126
rect 377 -130 378 -126
rect 382 -130 383 -126
rect 387 -130 388 -126
rect 392 -130 393 -126
rect 397 -130 398 -126
rect 402 -130 403 -126
rect 407 -130 408 -126
rect 412 -130 413 -126
rect 417 -130 418 -126
rect 422 -130 423 -126
rect 427 -130 428 -126
rect 432 -130 433 -126
rect 437 -130 438 -126
rect 442 -130 443 -126
rect 447 -130 448 -126
rect 452 -130 453 -126
rect 457 -130 458 -126
rect 462 -130 463 -126
rect 467 -130 468 -126
rect 472 -130 473 -126
rect 477 -130 478 -126
rect 482 -130 483 -126
rect 487 -130 488 -126
rect 492 -130 493 -126
rect 497 -130 498 -126
rect 502 -130 503 -126
rect 507 -130 508 -126
rect 512 -130 513 -126
rect 517 -130 518 -126
rect 522 -130 523 -126
rect 527 -130 528 -126
rect 35 -131 528 -130
rect 35 -134 45 -131
rect 35 -144 56 -134
rect 63 -141 73 -131
rect 466 -164 470 -160
rect 521 -166 525 -162
rect 534 -184 544 -72
rect 63 -197 73 -187
rect 520 -194 544 -184
rect 534 -197 544 -194
rect 59 -198 544 -197
rect 59 -202 60 -198
rect 64 -202 65 -198
rect 69 -202 70 -198
rect 74 -202 75 -198
rect 79 -202 80 -198
rect 84 -202 85 -198
rect 89 -202 90 -198
rect 94 -202 95 -198
rect 99 -202 100 -198
rect 104 -202 105 -198
rect 109 -202 110 -198
rect 114 -202 115 -198
rect 119 -202 120 -198
rect 124 -202 125 -198
rect 129 -202 130 -198
rect 134 -202 135 -198
rect 139 -202 140 -198
rect 144 -202 145 -198
rect 149 -202 150 -198
rect 154 -202 155 -198
rect 159 -202 160 -198
rect 164 -202 165 -198
rect 169 -202 170 -198
rect 174 -202 175 -198
rect 179 -202 180 -198
rect 184 -202 185 -198
rect 189 -202 190 -198
rect 194 -202 195 -198
rect 199 -202 200 -198
rect 204 -202 205 -198
rect 209 -202 210 -198
rect 214 -202 215 -198
rect 219 -202 220 -198
rect 224 -202 225 -198
rect 229 -202 230 -198
rect 234 -202 235 -198
rect 239 -202 240 -198
rect 244 -202 245 -198
rect 249 -202 250 -198
rect 254 -202 255 -198
rect 259 -202 260 -198
rect 264 -202 265 -198
rect 269 -202 270 -198
rect 274 -202 275 -198
rect 279 -202 280 -198
rect 284 -202 285 -198
rect 289 -202 290 -198
rect 294 -202 295 -198
rect 299 -202 300 -198
rect 304 -202 305 -198
rect 309 -202 310 -198
rect 314 -202 315 -198
rect 319 -202 320 -198
rect 324 -202 325 -198
rect 329 -202 330 -198
rect 334 -202 335 -198
rect 339 -202 340 -198
rect 344 -202 345 -198
rect 349 -202 350 -198
rect 354 -202 355 -198
rect 359 -202 360 -198
rect 364 -202 365 -198
rect 369 -202 370 -198
rect 374 -202 375 -198
rect 379 -202 380 -198
rect 384 -202 385 -198
rect 389 -202 390 -198
rect 394 -202 395 -198
rect 399 -202 400 -198
rect 404 -202 405 -198
rect 409 -202 410 -198
rect 414 -202 415 -198
rect 419 -202 420 -198
rect 424 -202 425 -198
rect 429 -202 430 -198
rect 434 -202 435 -198
rect 439 -202 440 -198
rect 444 -202 445 -198
rect 449 -202 450 -198
rect 454 -202 455 -198
rect 459 -202 460 -198
rect 464 -202 465 -198
rect 469 -202 470 -198
rect 474 -202 475 -198
rect 479 -202 480 -198
rect 484 -202 485 -198
rect 489 -202 490 -198
rect 494 -202 495 -198
rect 499 -202 500 -198
rect 504 -202 505 -198
rect 509 -202 510 -198
rect 514 -202 515 -198
rect 519 -202 520 -198
rect 524 -202 544 -198
rect 59 -203 544 -202
<< m2contact >>
rect 521 -22 525 -18
rect 525 -94 529 -90
rect 525 -166 529 -162
<< m3contact >>
rect 525 -22 529 -18
rect 529 -94 533 -90
rect 525 -162 529 -158
<< metal3 >>
rect 41 46 45 50
rect 41 36 45 40
rect 374 24 525 28
rect 374 4 537 8
rect 41 -8 45 -4
rect 41 -18 45 -14
rect 533 -94 537 4
rect 41 -98 45 -94
rect 41 -108 45 -104
rect 374 -120 529 -116
rect 41 -140 273 -136
rect 41 -152 45 -148
rect 525 -158 529 -120
rect 41 -162 45 -158
<< m4contact >>
rect 525 24 529 28
rect 525 -18 529 -14
<< metal4 >>
rect 525 -14 529 24
use sumator_1_bit  sumator_1_bit_0
transform 1 0 55 0 1 28
box -14 -8 477 58
use sumator_1_bit  sumator_1_bit_1
transform 1 0 55 0 -1 4
box -14 -8 477 58
use sumator_1_bit  sumator_1_bit_2
transform 1 0 55 0 1 -116
box -14 -8 477 58
use sumator_1_bit  sumator_1_bit_3
transform 1 0 55 0 -1 -140
box -14 -8 477 58
<< labels >>
rlabel metal3 41 -162 45 -158 3 A1
rlabel metal3 41 -152 45 -148 3 B1
rlabel metal3 41 -98 45 -94 3 A2
rlabel metal3 41 -108 45 -104 3 B2
rlabel metal3 41 -18 45 -14 3 A3
rlabel metal3 41 -8 45 -4 3 B3
rlabel metal3 41 36 45 40 3 B4
rlabel metal3 41 46 45 50 3 A4
rlabel metal3 41 -140 45 -136 3 CI
rlabel metal1 466 -164 470 -160 1 S1
rlabel m3contact 525 -162 529 -158 7 CO1
rlabel metal1 466 -96 470 -92 1 S2
rlabel metal3 533 -90 537 -86 7 CO2
rlabel m3contact 525 -22 529 -18 1 CO3
rlabel metal1 466 -20 470 -16 1 S3
rlabel metal1 466 48 470 52 1 S4
rlabel metal1 521 50 525 54 1 CO
rlabel metal1 40 -55 40 -55 3 VSS
rlabel metal1 540 -56 540 -56 7 VDD
<< end >>

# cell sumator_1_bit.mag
magic
tech scmos
<< nwell >>
rect -1 28 477 58
<< metal1 >>
rect 3 44 475 54
rect 84 29 88 33
rect 30 25 31 29
rect 80 25 88 29
rect 126 24 130 26
rect 126 20 142 24
rect 190 22 216 26
rect 265 22 270 26
rect 312 22 317 26
rect 353 24 363 28
rect 138 16 142 20
rect 312 18 316 22
rect 138 12 177 16
rect 359 16 363 24
rect 409 20 415 24
rect 426 22 430 26
rect 466 22 470 26
rect 359 12 396 16
rect 434 12 453 16
rect 1 -6 473 4
<< m2contact >>
rect 84 33 88 37
rect -6 22 -2 26
rect 31 25 35 29
rect 154 26 158 30
rect 202 26 206 30
rect 265 26 269 30
rect 94 22 98 26
rect 44 18 48 22
rect 250 21 254 25
rect 301 22 305 26
rect 13 12 17 16
rect 63 12 67 16
rect 113 12 117 16
rect 233 12 237 16
rect 284 12 288 16
rect 312 14 316 18
rect 369 22 373 26
rect 422 22 426 26
rect 336 12 340 16
rect 430 12 434 16
<< metal2 >>
rect 35 25 94 29
rect 202 32 269 36
rect 202 30 206 32
rect 265 30 269 32
rect 56 -4 60 25
rect 63 16 67 25
rect 90 22 94 25
rect 254 21 261 25
rect 305 22 369 26
rect 257 16 261 21
rect 218 12 233 16
rect 257 12 284 16
rect 263 4 267 12
rect 312 4 316 14
rect 323 12 336 16
rect 263 0 316 4
rect 430 -4 434 12
rect 56 -8 434 -4
<< m3contact >>
rect 84 37 88 41
rect 154 30 158 34
rect -6 18 -2 22
rect 40 18 44 22
rect 13 8 17 12
rect 257 25 261 29
rect 422 26 426 30
rect 109 12 113 16
rect 214 12 218 16
rect 319 12 323 16
<< metal3 >>
rect 88 37 158 41
rect 154 34 158 37
rect 257 35 426 39
rect 257 29 261 35
rect 422 30 426 35
rect -14 18 -6 22
rect -2 18 40 22
rect -14 8 13 12
rect 17 8 113 12
rect 214 0 218 12
rect 319 0 323 12
rect 214 -4 323 0
use nand  nand_0
transform 1 0 13 0 1 10
box -19 -10 21 38
use nand  nand_1
transform 1 0 63 0 1 10
box -19 -10 21 38
use nand  nand_2
transform 1 0 113 0 1 10
box -19 -10 21 38
use nand  nand_3
transform 1 0 173 0 1 10
box -19 -10 21 38
use nand  nand_4
transform 1 0 233 0 1 10
box -19 -10 21 38
use nand  nand_5
transform 1 0 284 0 1 10
box -19 -10 21 38
use nand  nand_6
transform 1 0 336 0 1 10
box -19 -10 21 38
use nand  nand_7
transform 1 0 392 0 1 10
box -19 -10 21 38
use nand  nand_8
transform 1 0 449 0 1 10
box -19 -10 21 38
<< labels >>
rlabel metal1 130 20 134 24 1 n3
rlabel metal1 190 22 194 26 1 n4
rlabel metal2 257 21 261 25 1 n5
rlabel m2contact 301 22 305 26 1 n6
rlabel metal1 359 12 363 16 1 n7
rlabel metal2 56 25 60 29 1 n1
rlabel metal3 92 37 96 41 1 n2
rlabel metal3 214 -4 218 0 1 CI
rlabel metal1 411 20 415 24 1 S
rlabel metal1 466 22 470 26 1 CO
rlabel metal3 -14 18 -10 22 3 A
rlabel metal3 -14 8 -10 12 3 B
<< end >>

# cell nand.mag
magic
tech scmos
<< ntransistor >>
rect 13 0 17 2
rect 13 -5 17 -3
<< ptransistor >>
rect -6 29 2 31
rect 11 29 19 31
<< ndiffusion >>
rect 13 2 17 3
rect 13 -3 17 0
rect 13 -6 17 -5
<< pdiffusion >>
rect -6 34 -4 36
rect 0 34 2 36
rect -6 31 2 34
rect 11 34 13 36
rect 17 34 19 36
rect 11 31 19 34
rect -6 28 2 29
rect -6 26 -4 28
rect 0 26 2 28
rect 11 28 19 29
rect 11 26 13 28
rect 17 26 19 28
<< ndcontact >>
rect 13 3 17 7
rect 13 -10 17 -6
<< pdcontact >>
rect -4 34 0 38
rect 13 34 17 38
rect -4 24 0 28
rect 13 24 17 28
<< polysilicon >>
rect -10 29 -6 31
rect 2 29 4 31
rect 7 29 11 31
rect 19 29 21 31
rect -10 16 -8 29
rect -10 -3 -8 12
rect 7 6 9 29
rect 7 0 13 2
rect 17 0 19 2
rect -10 -5 13 -3
rect 17 -5 19 -3
<< polycontact >>
rect -12 12 -8 16
rect 5 2 9 6
<< metal1 >>
rect -10 34 -4 38
rect 0 34 13 38
rect 17 34 21 38
rect 0 24 13 28
rect -19 12 -12 16
rect 13 7 17 24
rect 4 2 5 6
rect -6 -10 13 -6
<< labels >>
rlabel polycontact 5 3 6 5 1 b
rlabel polycontact -12 13 -11 15 3 a
<< end >>
